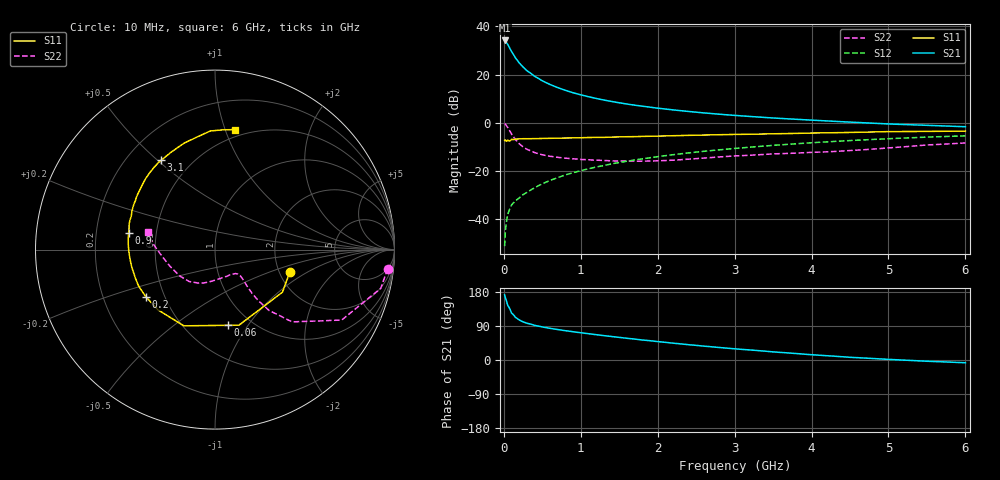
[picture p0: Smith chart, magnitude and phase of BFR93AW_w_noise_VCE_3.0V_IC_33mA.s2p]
! Infineon Technologies  Discrete & RF Semiconductors
! BFR93AW
! VCE =  3.0 V,  IC =  33 mA
! Common Emitter S-Parameters:  Jan 2017
# GHz  S  MA  R  50
!  f  S11  S21  S12  S22
! GHz  MAG  ANG  MAG  ANG  MAG  ANG  MAG  ANG
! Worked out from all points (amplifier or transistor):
!   77 points, 10 MHz to 6 GHz, reference 50 ohm
!   highest |S21| = 34.2 dB at 10 MHz (marker M1)
!   |S21| within 3 dB of that: start of sweep to 73.39 MHz
!   unconditionally stable (mu >= 1): 492.1 MHz to 2.081 GHz
!   at 130 MHz: K = 0.58, MSG = 30.5 dB, |S12| = -33.0 dB
!   at 2.2 GHz: K = 0.99, MSG = 9.3 dB, |S12| = -13.2 dB
!   at 6 GHz: K = 0.90, MSG = 1.9 dB, |S12| = -5.3 dB
!   lowest NFmin = 1.88 dB at 450 MHz
!   S11 on the Smith chart (normalised r, x): 10 MHz: 2.29, -0.70; 60 MHz: 0.79, -0.81; 200 MHz: 0.39, -0.26; 900 MHz: 0.35, +0.08; 3.1 GHz: 0.34, +0.51; 6 GHz: 0.44, +1.08
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0.01  0.4355 -16.5  51.16 171.8  0.0028 75.6  0.9677 -6.4
0.02  0.4443 -32.3  50.21 164.3  0.0057 76.8  0.9483 -13.2
0.05  0.4417 -72.4  42.5 144.4  0.0126 66.9  0.8076 -29.1
0.06  0.4279 -80.3  39.73 141.4  0.014 65.1  0.7611 -31.2
0.1  0.4588 -112.2  30.24 124.0  0.0199 60.5  0.5897 -43.1
0.15  0.462 -133.2  22.42 112.8  0.0243 58.3  0.4528 -48.4
0.2  0.4665 -145.7  17.54 105.7  0.0279 60.6  0.3715 -49.7
0.25  0.4716 -154.3  14.38 100.6  0.0328 62.6  0.32 -49.7
0.3  0.4711 -160.3  12.1 97.0  0.0364 64.3  0.2844 -49.1
0.4  0.4742 -168.6  9.259 91.4  0.0454 66.8  0.2432 -47.5
0.5  0.4773 -174.9  7.461 87.2  0.0548 68.4  0.2187 -46.5
0.6  0.4808 -179.7  6.267 83.6  0.0644 69.6  0.2039 -46.0
0.7  0.4842 176.5  5.396 80.4  0.0736 70.6  0.194 -46.0
0.9  0.4899 169.3  4.221 74.6  0.0931 70.5  0.181 -48.1
1.1  0.4994 163.4  3.496 69.4  0.1125 70.2  0.1727 -51.5
1.3  0.5024 158.0  2.984 64.3  0.1312 69.2  0.1671 -56.2
1.5  0.5135 153.3  2.615 59.7  0.1512 68.2  0.1625 -62.3
2.1  0.5381 140.0  1.943 46.6  0.2101 63.3  0.1665 -85.0
3.1  0.5809 121.1  1.398 28.0  0.3054 53.7  0.2105 -118.4
4.1  0.6209 104.5  1.122 12.6  0.3972 43.1  0.2487 -147.1
5.1  0.6624 90.9  0.94 0.7  0.4788 31.9  0.3119 -177.4
6  0.6776 80.6  0.835 -7.3  0.5409 21.9  0.385 165.4
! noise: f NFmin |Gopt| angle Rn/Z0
0.45  1.88  0.2  177  0.16
0.9  2.14  0.27  -173  0.16
1.9  3.19  0.51  -134  0.3
2.4  3.85  0.56  -124  0.58
